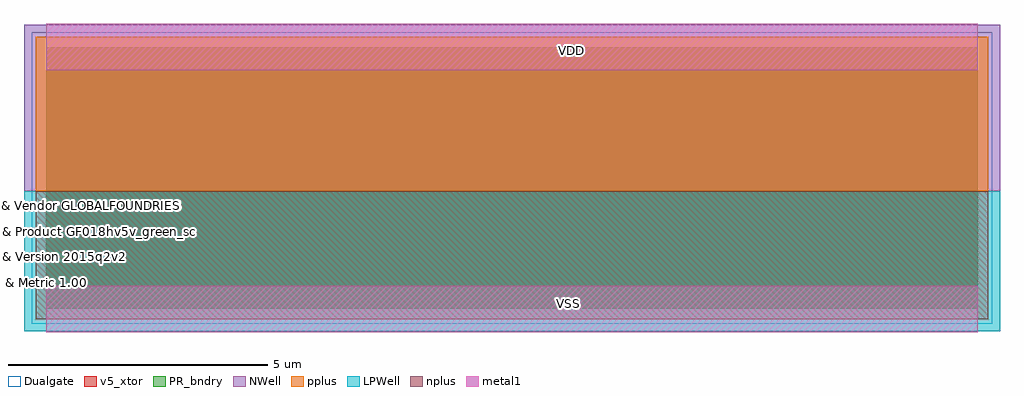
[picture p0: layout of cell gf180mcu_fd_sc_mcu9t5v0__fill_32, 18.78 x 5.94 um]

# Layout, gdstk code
import gdstk
lib = gdstk.Library(unit=1e-6, precision=1e-09)
def R(c, l, rs):  # rectangles x0, y0, x1, y1
    for r in rs: c.add(gdstk.rectangle(r[:2], r[2:], *l))
PR_bndry = (0, 0)
NWell = (21, 0)
pplus = (31, 0)
nplus = (32, 0)
metal1 = (34, 0)
Dualgate = (55, 0)
v5_xtor = (112, 1)
LPWell = (204, 0)

gf180mcu_fd_sc_mcu9t5v0_ = lib.new_cell('gf180mcu_fd_sc_mcu9t5v0__fill_32')
R(gf180mcu_fd_sc_mcu9t5v0_, PR_bndry, [(0,0,17.92,5.04)])
R(gf180mcu_fd_sc_mcu9t5v0_, NWell, [(-0.43,2.265,18.35,5.47)])
R(gf180mcu_fd_sc_mcu9t5v0_, pplus, [(-0.2,2.265,18.12,5.24)])
R(gf180mcu_fd_sc_mcu9t5v0_, nplus, [(-0.2,-0.2,18.12,2.265)])
R(gf180mcu_fd_sc_mcu9t5v0_, metal1, [(0,-0.45,17.92,0.45), (0,4.59,17.92,5.49)])
R(gf180mcu_fd_sc_mcu9t5v0_, Dualgate, [(-0.28,-0.28,18.2,5.32)])
R(gf180mcu_fd_sc_mcu9t5v0_, v5_xtor, [(0,0,17.92,5.04)])
R(gf180mcu_fd_sc_mcu9t5v0_, LPWell, [(-0.43,-0.43,18.35,2.265)])
gf180mcu_fd_sc_mcu9t5v0_.add(gdstk.Label('VDD', (10.1,4.97), layer=34, texttype=10))
gf180mcu_fd_sc_mcu9t5v0_.add(gdstk.Label('VSS', (10.045,0.105), layer=34, texttype=10))
gf180mcu_fd_sc_mcu9t5v0_.add(gdstk.Label('& Vendor GLOBALFOUNDRIES', (0,2), layer=63, texttype=63))
gf180mcu_fd_sc_mcu9t5v0_.add(gdstk.Label('& Product GF018hv5v_green_sc9', (0,1.5), layer=63, texttype=63))
gf180mcu_fd_sc_mcu9t5v0_.add(gdstk.Label('& Version 2015q2v2', (0,1), layer=63, texttype=63))
gf180mcu_fd_sc_mcu9t5v0_.add(gdstk.Label('& Metric 1.00', (0,0.5), layer=63, texttype=63))

lib.write_gds('gf180mcu_fd_sc_mcu9t5v0__fill_32.gds')
